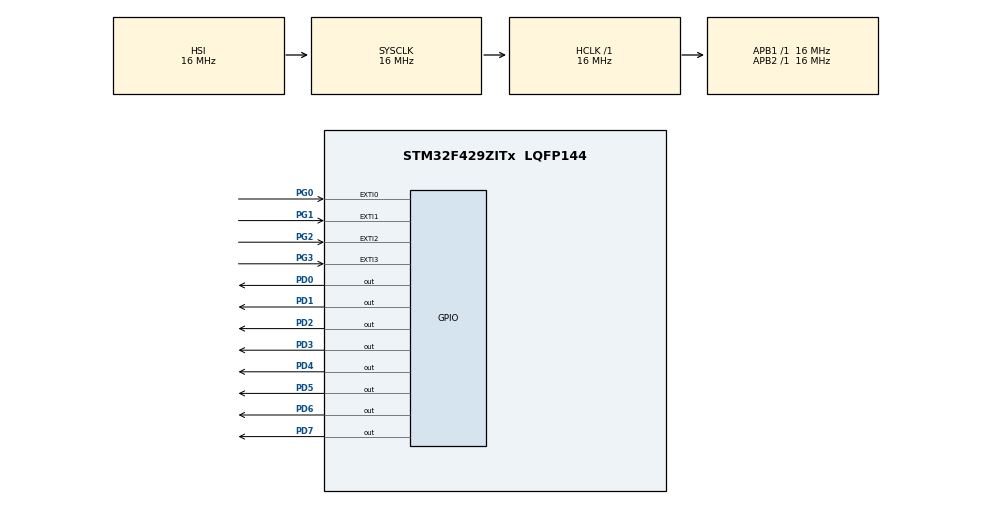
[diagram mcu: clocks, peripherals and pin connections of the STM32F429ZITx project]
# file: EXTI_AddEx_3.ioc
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Mcu.Family=STM32F4
Mcu.Name=STM32F429ZITx
Mcu.Package=LQFP144
NVIC.EXTI0_IRQn=true\:0\:0\:false\:false\:true\:true\:true\:true
NVIC.EXTI1_IRQn=true\:0\:0\:false\:false\:true\:true\:true\:true
NVIC.EXTI2_IRQn=true\:0\:0\:false\:false\:true\:true\:true\:true
NVIC.EXTI3_IRQn=true\:0\:0\:false\:false\:true\:true\:true\:true
NVIC.PriorityGroup=NVIC_PRIORITYGROUP_4
PD0.GPIO_ModeDefaultOutputPP=GPIO_MODE_OUTPUT_PP
PD0.GPIO_PuPd=GPIO_PULLUP
PD0.GPIO_Speed=GPIO_SPEED_FREQ_HIGH
PD0.PinState=GPIO_PIN_RESET
PD0.Signal=GPIO_Output
PD1.GPIO_ModeDefaultOutputPP=GPIO_MODE_OUTPUT_PP
PD1.GPIO_PuPd=GPIO_PULLUP
PD1.GPIO_Speed=GPIO_SPEED_FREQ_HIGH
PD1.PinState=GPIO_PIN_RESET
PD1.Signal=GPIO_Output
PD2.GPIO_ModeDefaultOutputPP=GPIO_MODE_OUTPUT_PP
PD2.GPIO_PuPd=GPIO_PULLUP
PD2.GPIO_Speed=GPIO_SPEED_FREQ_HIGH
PD2.PinState=GPIO_PIN_RESET
PD2.Signal=GPIO_Output
PD3.GPIO_ModeDefaultOutputPP=GPIO_MODE_OUTPUT_PP
PD3.GPIO_PuPd=GPIO_PULLUP
PD3.GPIO_Speed=GPIO_SPEED_FREQ_HIGH
PD3.PinState=GPIO_PIN_RESET
PD3.Signal=GPIO_Output
PD4.GPIO_ModeDefaultOutputPP=GPIO_MODE_OUTPUT_PP
PD4.GPIO_PuPd=GPIO_PULLUP
PD4.GPIO_Speed=GPIO_SPEED_FREQ_HIGH
PD4.PinState=GPIO_PIN_RESET
PD4.Signal=GPIO_Output
PD5.GPIO_ModeDefaultOutputPP=GPIO_MODE_OUTPUT_PP
PD5.GPIO_PuPd=GPIO_PULLUP
PD5.GPIO_Speed=GPIO_SPEED_FREQ_HIGH
PD5.PinState=GPIO_PIN_RESET
PD5.Signal=GPIO_Output
PD6.GPIO_ModeDefaultOutputPP=GPIO_MODE_OUTPUT_PP
PD6.GPIO_PuPd=GPIO_PULLUP
PD6.GPIO_Speed=GPIO_SPEED_FREQ_HIGH
PD6.PinState=GPIO_PIN_RESET
PD6.Signal=GPIO_Output
PD7.GPIO_ModeDefaultOutputPP=GPIO_MODE_OUTPUT_PP
PD7.GPIO_PuPd=GPIO_PULLUP
PD7.GPIO_Speed=GPIO_SPEED_FREQ_HIGH
PD7.PinState=GPIO_PIN_RESET
PD7.Signal=GPIO_Output
PG0.GPIO_ModeDefaultEXTI=GPIO_MODE_IT_FALLING
PG0.GPIO_PuPd=GPIO_NOPULL
PG0.Signal=GPXTI0
PG1.GPIO_ModeDefaultEXTI=GPIO_MODE_IT_FALLING
PG1.GPIO_PuPd=GPIO_NOPULL
PG1.Signal=GPXTI1
PG2.GPIO_ModeDefaultEXTI=GPIO_MODE_IT_FALLING
PG2.GPIO_PuPd=GPIO_NOPULL
PG2.Signal=GPXTI2
PG3.GPIO_ModeDefaultEXTI=GPIO_MODE_IT_FALLING
PG3.GPIO_PuPd=GPIO_NOPULL
PG3.Signal=GPXTI3
ProjectManager.HeapSize=0x200
ProjectManager.StackSize=0x400
ProjectManager.TargetToolchain=STM32CubeIDE
RCC.AHBFreq_Value=16000000
RCC.APB1Freq_Value=16000000
RCC.APB2Freq_Value=16000000
RCC.CortexFreq_Value=16000000
RCC.HSE_VALUE=25000000
RCC.HSI_VALUE=16000000
RCC.LSE_VALUE=32768
RCC.SYSCLKFreq_VALUE=16000000
RCC.VCOOutputFreq_Value=192000000
board=custom

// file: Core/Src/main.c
/* USER CODE BEGIN Header */
/**
  ******************************************************************************
  * @file           : main.c
  * @brief          : Main program body
  ******************************************************************************
  * @attention
  *
  * Copyright (c) 2023 STMicroelectronics.
  * All rights reserved.
  *
  * This software is licensed under terms that can be found in the LICENSE file
  * in the root directory of this software component.
  * If no LICENSE file comes with this software, it is provided AS-IS.
  *
  ******************************************************************************
  */
/* USER CODE END Header */
#include "main.h"

/* USER CODE BEGIN PV */
int flag_SW1 = 0, flag_SW2 = 0, flag_SW3 = 0, flag_SW4 = 0;
/* USER CODE END PV */

void SystemClock_Config(void);
static void MX_GPIO_Init(void);
/* USER CODE BEGIN PFP */
void LED_OnOff(int, int);
/* USER CODE END PFP */

int main(void)
{
  /* USER CODE BEGIN 1 */
	uint16_t led = 0x01;
  /* USER CODE END 1 */

  /* MCU Configuration--------------------------------------------------------*/

  /* Reset of all peripherals, Initializes the Flash interface and the Systick. */
  HAL_Init();

  /* Configure the system clock */
  SystemClock_Config();

  /* Initialize all configured peripherals */
  MX_GPIO_Init();

  /* Infinite loop */
  /* USER CODE BEGIN WHILE */
  while (1)
  {
	  //문제 그대로 동작일때
	 /*
	  	led == 0x00;

	  		  if ( flag_SW1 == 1 ) {
	  			  led = 0x01;
	  			  led_c = 0x02;
	  			  if (led == 0x01)
	  				  {
	  					  led_c = led_c << 1;
	  					  led_c = led_c & 0xfe;
	  				  }

	  			  do {
	  						  LED_OnOff(led, 200);
	  						  led = led << 1;
	  						  led = led & 0xfe;
	  					  } while (led != led_c);

	  			  if (led_c == 0x04)
	  						  {
	  							  led_c = 0x02;
	  						  }
	  		  	  }
	  		  if ( flag_SW2 == 1 ) {
	  			  led = 0x01;
	  			  led_c = 0x08;

	  			  if (led == 0x01)
	  			  {
	  				  led_c = led_c << 1;
	  				  led_c = led_c & 0xfe;

	  			  }

	  			  do {
	  					  LED_OnOff(led, 200);
	  					  led = led << 1;
	  					  led = led & 0xfe;
	  				  } while (led != led_c);

	  			  if (led_c == 0x10)
	  					  {
	  						  led_c = 0x08;
	  					  }
	  		  	  }
	  		  if ( flag_SW3 == 1 ) {
	  			  led = 0x01;
	  			  led_c = 0x20;

	  			  if (led == 0x01)
	  				  {
	  					  led_c = led_c << 1;
	  					  led_c = led_c & 0xfe;

	  				  }

	  			  do {
	  						  LED_OnOff(led, 200);
	  						  led = led << 1;
	  						  led = led & 0xfe;
	  					  } while (led != led_c);

	  			  if (led_c == 0x40)
	  						  {
	  							  led_c = 0x20;
	  						  }
	  		  	  }
	  		  if ( flag_SW4 == 1 ) {
	  			  led = 0x01;
	  			  led_c = 0x80;

	  			  if (led == 0x01)
	  			  {
	  				  led_c = led_c << 1;
	  				  led_c = led_c & 0xfe;

	  			  }

	  			  do {
	  					  LED_OnOff(led, 200);
	  					  led = led << 1;
	  					  led = led & 0xfe;
	  			  	  	  } while (led != led_c);

	  			  if (led_c == 0x00)
	  			  {
	  				  led_c = 0x80;
	  			  }
	  		  }
	  	  */

	  //예제 2번과 동일한 동작일때
	  if( flag_SW1 == 1 ){

	  		  led = 0x00;
	  		  LED_OnOff(led, 100);

	  		  led = led | 0x03;
	  		  LED_OnOff(led, 100);

	  	  }
	  	  if( flag_SW2 == 1 ){
	  		  led = 0x00;
	  		  LED_OnOff(led, 100);

	  		  led = led | 0x0c;
	  		  LED_OnOff(led, 100);

	  	  	  }
	  	  if ( flag_SW3 == 1 ) {
	  		  led = 0x00;
	  		  LED_OnOff(led, 100);

	  		  led = led | 0x30;
	  		  LED_OnOff(led, 100);

	  	  	  }
	  	  if ( flag_SW4 == 1 ) {
	  		  led = 0x00;
	  		  LED_OnOff(led, 100);

	  		  led = led | 0xc0;
	  		  LED_OnOff(led, 100);

	  	  	  }

    /* USER CODE END WHILE */

  }
}

void SystemClock_Config(void)
{
  RCC_OscInitTypeDef RCC_OscInitStruct = {0};
  RCC_ClkInitTypeDef RCC_ClkInitStruct = {0};

  /** Configure the main internal regulator output voltage
  */
  __HAL_RCC_PWR_CLK_ENABLE();
  __HAL_PWR_VOLTAGESCALING_CONFIG(PWR_REGULATOR_VOLTAGE_SCALE3);

  /** Initializes the RCC Oscillators according to the specified parameters
  * in the RCC_OscInitTypeDef structure.
  */
  RCC_OscInitStruct.OscillatorType = RCC_OSCILLATORTYPE_HSI;
  RCC_OscInitStruct.HSIState = RCC_HSI_ON;
  RCC_OscInitStruct.HSICalibrationValue = RCC_HSICALIBRATION_DEFAULT;
  RCC_OscInitStruct.PLL.PLLState = RCC_PLL_NONE;
  if (HAL_RCC_OscConfig(&RCC_OscInitStruct) != HAL_OK)
  {
    Error_Handler();
  }

  /** Initializes the CPU, AHB and APB buses clocks
  */
  RCC_ClkInitStruct.ClockType = RCC_CLOCKTYPE_HCLK|RCC_CLOCKTYPE_SYSCLK
                              |RCC_CLOCKTYPE_PCLK1|RCC_CLOCKTYPE_PCLK2;
  RCC_ClkInitStruct.SYSCLKSource = RCC_SYSCLKSOURCE_HSI;
  RCC_ClkInitStruct.AHBCLKDivider = RCC_SYSCLK_DIV1;
  RCC_ClkInitStruct.APB1CLKDivider = RCC_HCLK_DIV1;
  RCC_ClkInitStruct.APB2CLKDivider = RCC_HCLK_DIV1;

  if (HAL_RCC_ClockConfig(&RCC_ClkInitStruct, FLASH_LATENCY_0) != HAL_OK)
  {
    Error_Handler();
  }
}

static void MX_GPIO_Init(void)
{
  GPIO_InitTypeDef GPIO_InitStruct = {0};

  /* GPIO Ports Clock Enable */
  __HAL_RCC_GPIOG_CLK_ENABLE();
  __HAL_RCC_GPIOD_CLK_ENABLE();

  /*Configure GPIO pin Output Level */
  HAL_GPIO_WritePin(GPIOD, GPIO_PIN_0|GPIO_PIN_1|GPIO_PIN_2|GPIO_PIN_3
                          |GPIO_PIN_4|GPIO_PIN_5|GPIO_PIN_6|GPIO_PIN_7, GPIO_PIN_RESET);

  /*Configure GPIO pins : PG0 PG1 PG2 PG3 */
  GPIO_InitStruct.Pin = GPIO_PIN_0|GPIO_PIN_1|GPIO_PIN_2|GPIO_PIN_3;
  GPIO_InitStruct.Mode = GPIO_MODE_IT_FALLING;
  GPIO_InitStruct.Pull = GPIO_NOPULL;
  HAL_GPIO_Init(GPIOG, &GPIO_InitStruct);

  /*Configure GPIO pins : PD0 PD1 PD2 PD3
                           PD4 PD5 PD6 PD7 */
  GPIO_InitStruct.Pin = GPIO_PIN_0|GPIO_PIN_1|GPIO_PIN_2|GPIO_PIN_3
                          |GPIO_PIN_4|GPIO_PIN_5|GPIO_PIN_6|GPIO_PIN_7;
  GPIO_InitStruct.Mode = GPIO_MODE_OUTPUT_PP;
  GPIO_InitStruct.Pull = GPIO_PULLUP;
  GPIO_InitStruct.Speed = GPIO_SPEED_FREQ_HIGH;
  HAL_GPIO_Init(GPIOD, &GPIO_InitStruct);

  /* EXTI interrupt init*/
  HAL_NVIC_SetPriority(EXTI0_IRQn, 0, 0);
  HAL_NVIC_EnableIRQ(EXTI0_IRQn);

  HAL_NVIC_SetPriority(EXTI1_IRQn, 0, 0);
  HAL_NVIC_EnableIRQ(EXTI1_IRQn);

  HAL_NVIC_SetPriority(EXTI2_IRQn, 0, 0);
  HAL_NVIC_EnableIRQ(EXTI2_IRQn);

  HAL_NVIC_SetPriority(EXTI3_IRQn, 0, 0);
  HAL_NVIC_EnableIRQ(EXTI3_IRQn);

}

/* USER CODE BEGIN 4 */

void LED_OnOff(int led, int interval)
{
	HAL_GPIO_WritePin(GPIO_LED, led, GPIO_PIN_SET );
	HAL_GPIO_WritePin(GPIO_LED_Nucleo, led, GPIO_PIN_SET );
	HAL_Delay(interval);
	HAL_GPIO_WritePin(GPIO_LED, led, GPIO_PIN_RESET );
	HAL_GPIO_WritePin(GPIO_LED_Nucleo, led, GPIO_PIN_RESET );
}
void HAL_GPIO_EXTI_Callback(uint16_t GPIO_PIN)
{
	if ( GPIO_PIN == SW1) flag_SW1 = 1, flag_SW2 = 0, flag_SW3 = 0, flag_SW4 = 0;
	if ( GPIO_PIN == SW2) flag_SW1 = 0, flag_SW2 = 1, flag_SW3 = 0, flag_SW4 = 0;
	if ( GPIO_PIN == SW3) flag_SW1 = 0, flag_SW2 = 0, flag_SW3 = 1, flag_SW4 = 0;
	if ( GPIO_PIN == SW4) flag_SW1 = 0, flag_SW2 = 0, flag_SW3 = 0, flag_SW4 = 1;
}

/* USER CODE END 4 */

void Error_Handler(void)
{
  __disable_irq();
  while (1)
  {
  }
}
